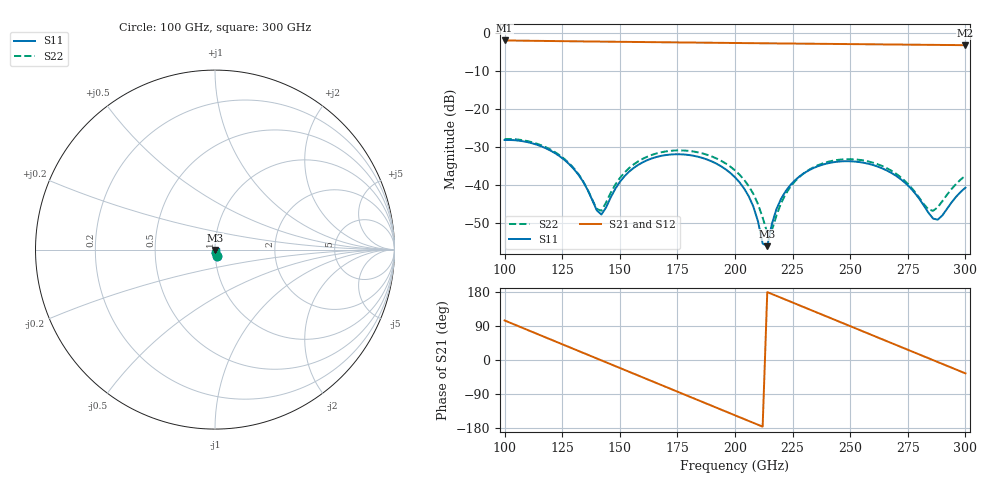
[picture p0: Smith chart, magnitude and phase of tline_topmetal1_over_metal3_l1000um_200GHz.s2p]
#  GHZ S DB R 50
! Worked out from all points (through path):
!   101 points, 100 GHz to 300 GHz, reference 50 ohm
!   highest |S21| = -1.93 dB at 100 GHz (marker M1); lowest = -3.2 dB at 300 GHz (marker M2)
!   group delay of S21, straight-line fit = 6.94 ps
!   lowest |S11| = -56.0 dB at 214 GHz (marker M3), VSWR 1.00, Z = 50.1 - j0.137 ohm
!   |S11| at or under -10 dB: start of sweep to end of sweep
!   |S22| runs from -52.5 to -27.9 dB; largest |S21 - S12| = 0
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100  -28.12 -70.1  -1.93 104.3  -1.93 104.3  -27.87 -70.3
110  -28.68 -92.7  -2.00 79.2  -2.00 79.2  -28.42 -92.9
120  -30.92 -114.8  -2.08 54.1  -2.08 54.1  -30.66 -114.9
134  -39.00 -135.9  -2.18 19.1  -2.18 19.1  -38.86 -134.7
140  -46.60 -111.0  -2.22 4.0  -2.22 4.0  -46.27 -104.6
142  -47.73 -81.4  -2.23 -1.0  -2.23 -1.0  -46.71 -74.9
154  -36.47 -42.1  -2.31 -31.0  -2.31 -31.0  -35.52 -42.5
168  -32.28 -69.8  -2.40 -66.0  -2.40 -66.0  -31.34 -70.2
184  -32.52 -106.9  -2.50 -106.0  -2.50 -106.0  -31.37 -106.8
200  -37.92 -143.0  -2.60 -146.0  -2.60 -146.0  -36.10 -141.7
208  -45.68 -153.8  -2.65 -165.9  -2.65 -165.9  -42.33 -152.4
212  -55.34 -127.8  -2.67 -175.9  -2.67 -175.9  -48.54 -142.7
214  -56.04 -59.9  -2.68 179.1  -2.68 179.1  -52.49 -115.3
216  -50.21 -33.4  -2.69 174.1  -2.69 174.1  -51.93 -69.0
220  -43.57 -29.3  -2.72 164.1  -2.72 164.1  -44.74 -40.4
226  -38.72 -39.0  -2.75 149.2  -2.75 149.2  -39.00 -43.7
234  -35.50 -56.2  -2.80 129.2  -2.80 129.2  -35.31 -58.7
250  -33.70 -92.9  -2.89 89.3  -2.89 89.3  -33.16 -93.6
268  -36.81 -131.1  -2.99 44.5  -2.99 44.5  -36.24 -129.4
284  -47.28 -129.7  -3.08 4.6  -3.08 4.6  -46.39 -111.1
288  -49.07 -95.1  -3.10 -5.4  -3.10 -5.4  -45.80 -77.0
300  -40.65 -63.3  -3.17 -35.2  -3.17 -35.2  -37.50 -61.5
